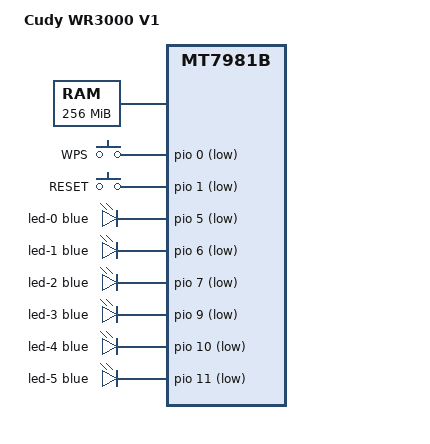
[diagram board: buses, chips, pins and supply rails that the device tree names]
// SPDX-License-Identifier: GPL-2.0-only OR MIT

/dts-v1/;
#include <dt-bindings/input/input.h>
#include <dt-bindings/gpio/gpio.h>
#include <dt-bindings/leds/common.h>

#include "mt7981b.dtsi"

/ {
	compatible = "cudy,wr3000-v1", "mediatek,mt7981b";
	model = "Cudy WR3000 V1";

	memory@40000000 {
		reg = <0 0x40000000 0 0x10000000>;
		device_type = "memory";
	};

	keys {
		compatible = "gpio-keys";

		key-wps {
			label = "WPS";
			gpios = <&pio 0 GPIO_ACTIVE_LOW>;
			linux,code = <KEY_WPS_BUTTON>;
		};

		key-reset {
			label = "RESET";
			gpios = <&pio 1 GPIO_ACTIVE_LOW>;
			linux,code = <KEY_RESTART>;
		};
	};

	leds {
		compatible = "gpio-leds";

		led-0 {
			function = LED_FUNCTION_WAN;
			color = <LED_COLOR_ID_BLUE>;
			gpios = <&pio 5 GPIO_ACTIVE_LOW>;
		};

		led-1 {
			function = LED_FUNCTION_WLAN_2GHZ;
			color = <LED_COLOR_ID_BLUE>;
			gpios = <&pio 6 GPIO_ACTIVE_LOW>;
		};

		led-2 {
			function = LED_FUNCTION_WLAN_5GHZ;
			color = <LED_COLOR_ID_BLUE>;
			gpios = <&pio 7 GPIO_ACTIVE_LOW>;
		};

		led-3 {
			function = LED_FUNCTION_LAN;
			color = <LED_COLOR_ID_BLUE>;
			gpios = <&pio 9 GPIO_ACTIVE_LOW>;
		};

		led-4 {
			function = LED_FUNCTION_STATUS;
			color = <LED_COLOR_ID_BLUE>;
			gpios = <&pio 10 GPIO_ACTIVE_LOW>;
		};

		led-5 {
			function = "online";
			color = <LED_COLOR_ID_BLUE>;
			gpios = <&pio 11 GPIO_ACTIVE_LOW>;
		};
	};
};
